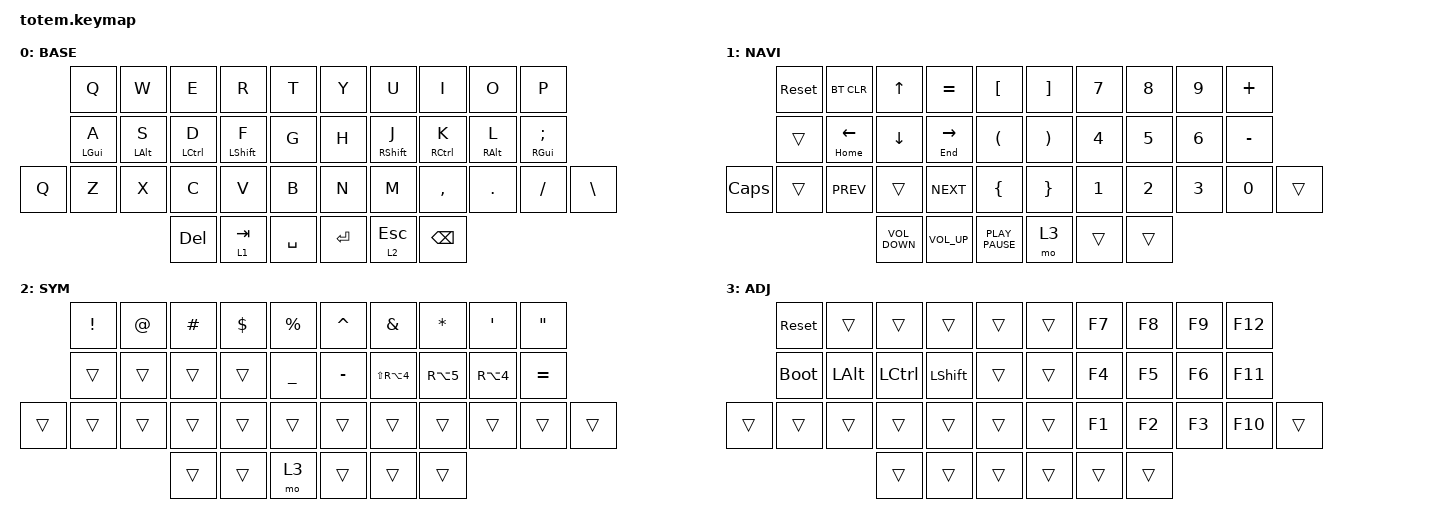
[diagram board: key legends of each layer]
//
//                                                        ▀▀▀▀▀     ▀▀▀▀▀          ▀▀█▀▀
//                                                        ▄▀▀▀▄  ▄  ▄▀▀▀▄  ▄  ▄▀▀▀▄  █  ▄▀▀▀▄
//                                                        █   █  █  █   █  █  █   █  █  █   █
//                                                         ▀▀▀   █   ▀▀▀   █   ▀▀▀   ▀   ▀▀▀
//                                                               █      ▄▄▄█▄▄▄    █   █  
//                                                               ▀      █  █  █     █▄█
//                                                             ▀▀▀▀▀    █  █  █      ▀
//                                                                      ▀  ▀  ▀
//
// ▄▄▄▄▄▄▄▄▄▄▄▄▄▄▄▄▄▄▄▄▄▄▄▄▄▄▄▄▄▄▄▄▄▄▄▄▄▄▄▄▄▄▄▄▄▄▄▄▄▄▄▄▄▄▄▄▄▄▄▄▄▄▄▄▄▄▄▄▄▄▄▄▄▄▄▄▄▄▄▄▄▄▄▄▄▄▄▄▄▄▄▄▄▄▄▄▄▄▄▄▄▄▄▄▄▄▄▄▄▄▄▄▄▄▄▄▄▄▄▄▄▄▄▄▄▄▄▄▄▄▄▄▄▄▄▄▄▄▄▄▄▄▄▄▄▄▄▄▄

#include <behaviors.dtsi>
#include <dt-bindings/zmk/bt.h>
#include <dt-bindings/zmk/keys.h>

#define BASE 0
#define NAV  1
#define SYM  2
#define ADJ  3

&mt {
    quick-tap-ms = <100>;
    global-quick-tap;
    flavor = "tap-preferred";
    tapping-term-ms = <170>;
};

/ {
    combos {
        compatible = "zmk,combos";

        combo_esc {
            timeout-ms = <50>;
            key-positions = <0 1>;
            bindings = <&kp ESC>;
        };
    };

    keymap {
        compatible = "zmk,keymap";

        // ▄▄▄▄▄▄▄▄▄▄▄▄▄▄▄▄▄▄▄▄▄▄▄▄▄▄▄▄▄▄▄▄▄▄▄▄▄▄▄▄▄▄▄▄▄▄▄▄▄▄▄▄▄▄▄▄▄▄▄▄▄▄▄▄▄▄▄▄▄▄▄▄▄▄▄▄▄▄▄▄▄▄▄▄▄▄▄▄▄▄▄▄▄▄▄▄▄▄▄▄▄▄▄▄▄▄▄▄▄▄▄▄▄▄▄▄▄▄▄▄▄▄▄▄▄▄▄▄▄▄▄▄▄▄▄▄▄▄▄▄▄▄▄▄▄▄▄▄▄

        base_layer {
            // ┏━━━━━━━━━━━━━━━━━━━━━━━━━━━━━━━━━━━━━━━┓

            label = "BASE";

            // ┗━━━━━━━━━━━━━━━━━━━━━━━━━━━━━━━━━━━━━━━┛
            //             ┏━━━━━━━━━━━┳━━━━━━━━━━━┳━━━━━━━━━━━┳━━━━━━━━━━━┳━━━━━━━━━━━┓   ┏━━━━━━━━━━━┳━━━━━━━━━━━┳━━━━━━━━━━━┳━━━━━━━━━━━┳━━━━━━━━━━━┓
            //             ┃     Q     ┃     W     ┃     E     ┃     R     ┃     T     ┃   ┃     Y     ┃     U     ┃     I     ┃     O     ┃     P     ┃
            //             ┣━━━━━━━━━━━╋━━━━━━━━━━━╋━━━━━━━━━━━╋━━━━━━━━━━━╋━━━━━━━━━━━┫   ┣━━━━━━━━━━━╋━━━━━━━━━━━╋━━━━━━━━━━━╋━━━━━━━━━━━╋━━━━━━━━━━━┫
            //             ┃     A     ┃     S     ┃     D     ┃     F     ┃     G     ┃   ┃     H     ┃     J     ┃     K     ┃     L     ┃     ;     ┃
            // ┏━━━━━━━━━━━╋━━━━━━━━━━━╋━━━━━━━━━━━╋━━━━━━━━━━━╋━━━━━━━━━━━╋━━━━━━━━━━━┫   ┣━━━━━━━━━━━╋━━━━━━━━━━━╋━━━━━━━━━━━╋━━━━━━━━━━━╋━━━━━━━━━━━╋━━━━━━━━━━━┓
            // ┃     Q     ┃     Z     ┃     X     ┃     C     ┃     V     ┃     B     ┃   ┃     N     ┃     M     ┃     ,     ┃     .     ┃     /     ┃     \     ┃
            // ┗━━━━━━━━━━━┻━━━━━━━━━━━┻━━━━━━━━━━━╋━━━━━━━━━━━╋━━━━━━━━━━━╋━━━━━━━━━━━┫   ┣━━━━━━━━━━━╋━━━━━━━━━━━╋━━━━━━━━━━━╋━━━━━━━━━━━┻━━━━━━━━━━━┻━━━━━━━━━━━┛
            //                                     ┃    DEL    ┃    TAB    ┃    SPC    ┃   ┃   ENTER   ┃           ┃   BSPC    ┃
            //                                     ┗━━━━━━━━━━━┻━━━━━━━━━━━┻━━━━━━━━━━━┛   ┗━━━━━━━━━━━┻━━━━━━━━━━━┻━━━━━━━━━━━┛

            bindings = <
       &kp Q       &kp W       &kp E        &kp R        &kp T        &kp Y    &kp U        &kp I        &kp O       &kp P
       &mt LGUI A  &mt LALT S  &mt LCTRL D  &mt LSHFT F  &kp G        &kp H    &mt RSHFT J  &mt RCTRL K  &mt RALT L  &mt RGUI SEMI
&kp Q  &kp Z       &kp X       &kp C        &kp V        &kp B        &kp N    &kp M        &kp COMMA    &kp DOT     &kp FSLH       &kp BSLH
                               &kp DEL      &lt 1 TAB    &kp SPACE    &kp RET  &lt 2 ESC    &kp BSPC
            >;
        };

        // ▄▄▄▄▄▄▄▄▄▄▄▄▄▄▄▄▄▄▄▄▄▄▄▄▄▄▄▄▄▄▄▄▄▄▄▄▄▄▄▄▄▄▄▄▄▄▄▄▄▄▄▄▄▄▄▄▄▄▄▄▄▄▄▄▄▄▄▄▄▄▄▄▄▄▄▄▄▄▄▄▄▄▄▄▄▄▄▄▄▄▄▄▄▄▄▄▄▄▄▄▄▄▄▄▄▄▄▄▄▄▄▄▄▄▄▄▄▄▄▄▄▄▄▄▄▄▄▄▄▄▄▄▄▄▄▄▄▄▄▄▄▄▄▄▄▄▄▄▄

        nav_layer {
            // ┏━━━━━━━━━━━━━━━━━━━━━━━━━━━━━━━━━━━━━━━┓

            label = "NAVI";

            // ┗━━━━━━━━━━━━━━━━━━━━━━━━━━━━━━━━━━━━━━━┛
            //             ┏━━━━━━━━━━━┳━━━━━━━━━━━┳━━━━━━━━━━━┳━━━━━━━━━━━┳━━━━━━━━━━━┓   ┏━━━━━━━━━━━┳━━━━━━━━━━━┳━━━━━━━━━━━┳━━━━━━━━━━━┳━━━━━━━━━━━┓
            //             ┃           ┃           ┃     UP    ┃           ┃     {     ┃   ┃     }     ┃     7     ┃     8     ┃     9     ┃     +     ┃
            //             ┣━━━━━━━━━━━╋━━━━━━━━━━━╋━━━━━━━━━━━╋━━━━━━━━━━━╋━━━━━━━━━━━┫   ┣━━━━━━━━━━━╋━━━━━━━━━━━╋━━━━━━━━━━━╋━━━━━━━━━━━╋━━━━━━━━━━━┫
            //             ┃   SHIFT   ┃   LEFT    ┃    DOWN   ┃   RIGHT   ┃     [     ┃   ┃     ]     ┃     4     ┃     5     ┃     6     ┃     -     ┃
            // ┏━━━━━━━━━━━╋━━━━━━━━━━━╋━━━━━━━━━━━╋━━━━━━━━━━━╋━━━━━━━━━━━╋━━━━━━━━━━━┫   ┣━━━━━━━━━━━╋━━━━━━━━━━━╋━━━━━━━━━━━╋━━━━━━━━━━━╋━━━━━━━━━━━╋━━━━━━━━━━━┓
            // ┃           ┃           ┃   P UP    ┃  C LOCK   ┃  P DOWN   ┃     (     ┃   ┃     )     ┃     1     ┃     2     ┃     3     ┃     *     ┃           ┃
            // ┗━━━━━━━━━━━┻━━━━━━━━━━━┻━━━━━━━━━━━╋━━━━━━━━━━━╋━━━━━━━━━━━╋━━━━━━━━━━━┫   ┣━━━━━━━━━━━╋━━━━━━━━━━━╋━━━━━━━━━━━╋━━━━━━━━━━━┻━━━━━━━━━━━┻━━━━━━━━━━━┛
            //                                     ┃           ┃    TAB    ┃    SPC    ┃   ┃    DEL    ┃     0     ┃           ┃
            //                                     ┗━━━━━━━━━━━┻━━━━━━━━━━━┻━━━━━━━━━━━┛   ┗━━━━━━━━━━━┻━━━━━━━━━━━┻━━━━━━━━━━━┛

            bindings = <
          &sys_reset  &bt BT_CLR           &kp UP_ARROW       &kp EQUAL            &kp LEFT_BRACKET        &kp RIGHT_BRACKET      &kp NUMBER_7  &kp NUMBER_8  &kp NUMBER_9  &kp PLUS
          &trans      &mt HOME LEFT_ARROW  &kp DOWN           &mt END RIGHT_ARROW  &kp LEFT_PARENTHESIS    &kp RIGHT_PARENTHESIS  &kp NUMBER_4  &kp NUMBER_5  &kp NUMBER_6  &kp MINUS
&kp CAPS  &trans      &kp C_PREV           &trans             &kp C_NEXT           &kp LEFT_BRACE          &kp RIGHT_BRACE        &kp NUMBER_1  &kp NUMBER_2  &kp NUMBER_3  &kp NUMBER_0  &trans
                                           &kp C_VOLUME_DOWN  &kp C_VOLUME_UP      &kp K_PLAY_PAUSE        &mo 3                  &trans        &trans
            >;
        };

        // ▄▄▄▄▄▄▄▄▄▄▄▄▄▄▄▄▄▄▄▄▄▄▄▄▄▄▄▄▄▄▄▄▄▄▄▄▄▄▄▄▄▄▄▄▄▄▄▄▄▄▄▄▄▄▄▄▄▄▄▄▄▄▄▄▄▄▄▄▄▄▄▄▄▄▄▄▄▄▄▄▄▄▄▄▄▄▄▄▄▄▄▄▄▄▄▄▄▄▄▄▄▄▄▄▄▄▄▄▄▄▄▄▄▄▄▄▄▄▄▄▄▄▄▄▄▄▄▄▄▄▄▄▄▄▄▄▄▄▄▄▄▄▄▄▄▄▄▄▄

        sim_layer {
            // ┏━━━━━━━━━━━━━━━━━━━━━━━━━━━━━━━━━━━━━━━┓

            label = "SYM";

            // ┗━━━━━━━━━━━━━━━━━━━━━━━━━━━━━━━━━━━━━━━┛
            //             ┏━━━━━━━━━━━┳━━━━━━━━━━━┳━━━━━━━━━━━┳━━━━━━━━━━━┳━━━━━━━━━━━┓   ┏━━━━━━━━━━━┳━━━━━━━━━━━┳━━━━━━━━━━━┳━━━━━━━━━━━┳━━━━━━━━━━━┓
            //             ┃     !     ┃     @     ┃     #     ┃     $     ┃     %     ┃   ┃     ˆ     ┃     &     ┃     Ü     ┃     '     ┃     "     ┃
            //             ┣━━━━━━━━━━━╋━━━━━━━━━━━╋━━━━━━━━━━━╋━━━━━━━━━━━╋━━━━━━━━━━━┫   ┣━━━━━━━━━━━╋━━━━━━━━━━━╋━━━━━━━━━━━╋━━━━━━━━━━━╋━━━━━━━━━━━┫
            //             ┃     Ä     ┃           ┃    SZ     ┃           ┃           ┃   ┃   MUTE    ┃   YEN     ┃   EURO    ┃  POUND    ┃     Ö     ┃
            // ┏━━━━━━━━━━━╋━━━━━━━━━━━╋━━━━━━━━━━━╋━━━━━━━━━━━╋━━━━━━━━━━━╋━━━━━━━━━━━┫   ┣━━━━━━━━━━━╋━━━━━━━━━━━╋━━━━━━━━━━━╋━━━━━━━━━━━╋━━━━━━━━━━━╋━━━━━━━━━━━┓
            // ┃           ┃  EMAIL1   ┃  EMAIL2   ┃           ┃           ┃           ┃   ┃   VOL-    ┃   VOL+    ┃   LAST    ┃   NEXT    ┃     \     ┃           ┃
            // ┗━━━━━━━━━━━┻━━━━━━━━━━━┻━━━━━━━━━━━╋━━━━━━━━━━━╋━━━━━━━━━━━╋━━━━━━━━━━━┫   ┣━━━━━━━━━━━╋━━━━━━━━━━━╋━━━━━━━━━━━╋━━━━━━━━━━━┻━━━━━━━━━━━┻━━━━━━━━━━━┛
            //                                     ┃           ┃    GIF    ┃    ADJ    ┃   ┃           ┃           ┃           ┃
            //                                     ┗━━━━━━━━━━━┻━━━━━━━━━━━┻━━━━━━━━━━━┛   ┗━━━━━━━━━━━┻━━━━━━━━━━━┻━━━━━━━━━━━┛

            bindings = <
        &kp EXCL  &kp AT  &kp HASH  &kp DLLR  &kp PRCNT         &kp CARET  &kp AMPS        &kp ASTERISK  &kp SQT     &kp DQT
        &trans    &trans  &trans    &trans    &kp UNDERSCORE    &kp MINUS  &kp LS(RA(N4))  &kp RA(N5)    &kp RA(N4)  &kp EQUAL
&trans  &trans    &trans  &trans    &trans    &trans            &trans     &trans          &trans        &trans      &trans     &trans
                          &trans    &trans    &mo 3             &trans     &trans          &trans
            >;
        };

        // ▄▄▄▄▄▄▄▄▄▄▄▄▄▄▄▄▄▄▄▄▄▄▄▄▄▄▄▄▄▄▄▄▄▄▄▄▄▄▄▄▄▄▄▄▄▄▄▄▄▄▄▄▄▄▄▄▄▄▄▄▄▄▄▄▄▄▄▄▄▄▄▄▄▄▄▄▄▄▄▄▄▄▄▄▄▄▄▄▄▄▄▄▄▄▄▄▄▄▄▄▄▄▄▄▄▄▄▄▄▄▄▄▄▄▄▄▄▄▄▄▄▄▄▄▄▄▄▄▄▄▄▄▄▄▄▄▄▄▄▄▄▄▄▄▄▄▄▄▄

        adjust_layer {
            // ┏━━━━━━━━━━━━━━━━━━━━━━━━━━━━━━━━━━━━━━━┓

            label = "ADJ";

            // ┗━━━━━━━━━━━━━━━━━━━━━━━━━━━━━━━━━━━━━━━┛
            //             ┏━━━━━━━━━━━┳━━━━━━━━━━━┳━━━━━━━━━━━┳━━━━━━━━━━━┳━━━━━━━━━━━┓   ┏━━━━━━━━━━━┳━━━━━━━━━━━┳━━━━━━━━━━━┳━━━━━━━━━━━┳━━━━━━━━━━━┓
            //             ┃   RESET   ┃ BT CLEAR  ┃  OUT TOG  ┃           ┃           ┃   ┃           ┃    F7     ┃    F8     ┃    F9     ┃    F12    ┃
            //             ┣━━━━━━━━━━━╋━━━━━━━━━━━╋━━━━━━━━━━━╋━━━━━━━━━━━╋━━━━━━━━━━━┫   ┣━━━━━━━━━━━╋━━━━━━━━━━━╋━━━━━━━━━━━╋━━━━━━━━━━━╋━━━━━━━━━━━┫
            //             ┃ BOOTLOAD  ┃ BT NEXT   ┃           ┃           ┃           ┃   ┃           ┃    F4     ┃    F5     ┃    F6     ┃    F11    ┃
            // ┏━━━━━━━━━━━╋━━━━━━━━━━━╋━━━━━━━━━━━╋━━━━━━━━━━━╋━━━━━━━━━━━╋━━━━━━━━━━━┫   ┣━━━━━━━━━━━╋━━━━━━━━━━━╋━━━━━━━━━━━╋━━━━━━━━━━━╋━━━━━━━━━━━╋━━━━━━━━━━━┓
            // ┃           ┃           ┃ BT PREV   ┃           ┃           ┃           ┃   ┃           ┃    F1     ┃    F2     ┃    F3     ┃    F10    ┃           ┃
            // ┗━━━━━━━━━━━┻━━━━━━━━━━━┻━━━━━━━━━━━╋━━━━━━━━━━━╋━━━━━━━━━━━╋━━━━━━━━━━━┫   ┣━━━━━━━━━━━╋━━━━━━━━━━━╋━━━━━━━━━━━╋━━━━━━━━━━━┻━━━━━━━━━━━┻━━━━━━━━━━━┛
            //                                     ┃           ┃           ┃           ┃   ┃           ┃           ┃           ┃
            //                                     ┗━━━━━━━━━━━┻━━━━━━━━━━━┻━━━━━━━━━━━┛   ┗━━━━━━━━━━━┻━━━━━━━━━━━┻━━━━━━━━━━━┛

            bindings = <
        &sys_reset   &trans        &trans     &trans          &trans    &trans  &kp F7  &kp F8  &kp F9  &kp F12
        &bootloader  &kp LEFT_ALT  &kp LCTRL  &kp LEFT_SHIFT  &trans    &trans  &kp F4  &kp F5  &kp F6  &kp F11
&trans  &trans       &trans        &trans     &trans          &trans    &trans  &kp F1  &kp F2  &kp F3  &kp F10  &trans
                                   &trans     &trans          &trans    &trans  &trans  &trans
            >;
        };
    };
};
